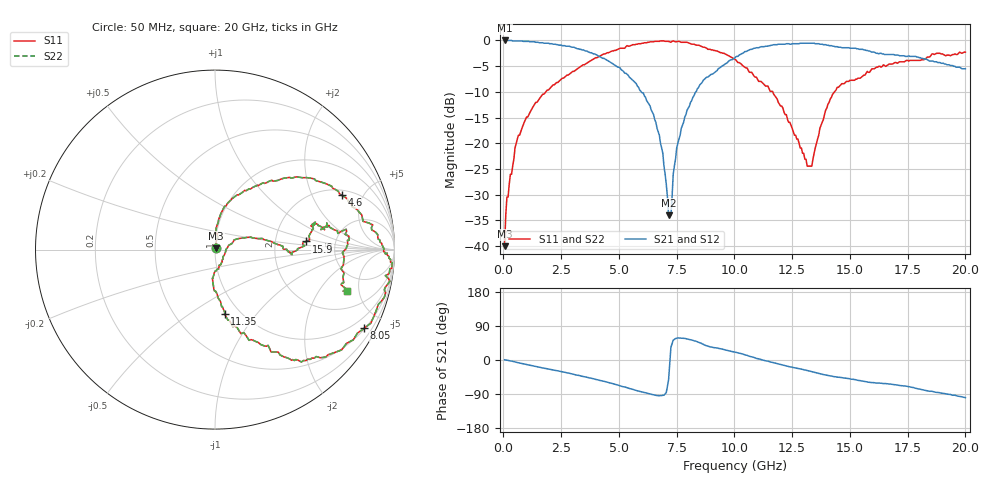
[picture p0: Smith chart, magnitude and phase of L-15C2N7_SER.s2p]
# MHZ S MA R 50
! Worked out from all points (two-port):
!   400 points, 50 MHz to 20 GHz, reference 50 ohm
!   highest |S21| = 0.00 dB at 50 MHz (marker M1); lowest = -34.0 dB at 7.15 GHz (marker M2)
!   |S21| within 3 dB of the highest: start of sweep to 4.11 GHz; 10.17 GHz to 17.36 GHz (7.19 GHz wide, 52.2 % of centre)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
!   lowest |S11| = -40.0 dB at 50 MHz (marker M3), VSWR 1.02, Z = 50.6 + j0.791 ohm
!   |S11| at or under -10 dB: start of sweep to 1.831 GHz; 11.66 GHz to 14.33 GHz (2.672 GHz wide, 20.6 % of centre)
!   |S22| runs from -40.0 to -0.1 dB; largest |S21 - S12| = 0
!   S11 on the Smith chart (normalised r, x): 50 MHz: 1.01, +0.02; 4.6 GHz: 2.31, +3.43; 8.05 GHz: 0.53, -3.97; 11.35 GHz: 0.85, -0.70; 15.9 GHz: 3.03, +0.37; 20 GHz: 3.26, -3.73
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50  0.01 51.4  1 0.6  1 0.6  0.01 51.4
150  0.03 78.5  1 -0.5  1 -0.5  0.03 78.5
650  0.12 86.8  0.99 -7.4  0.99 -7.4  0.12 86.8
1700  0.3 71.7  0.95 -20.9  0.95 -20.9  0.3 71.7
3400  0.57 44.7  0.81 -42.9  0.81 -42.9  0.57 44.7
4600  0.77 23.1  0.62 -60.4  0.62 -60.4  0.77 23.1
6050  0.94 -0.7  0.31 -85.3  0.31 -85.3  0.94 -0.7
6700  0.98 -3.9  0.13 -94.1  0.13 -94.1  0.98 -3.9
6900  0.99 -5.2  0.08 -93.2  0.08 -93.2  0.99 -5.2
7150  0.98 -7.8  0.02 -52.3  0.02 -52.3  0.98 -7.8
7250  0.96 -8.7  0.02 33.5  0.02 33.5  0.96 -8.7
7350  0.99 -10.3  0.05 52.3  0.05 52.3  0.99 -10.3
7500  0.97 -13.4  0.09 57.4  0.09 57.4  0.97 -13.4
8050  0.94 -27.8  0.23 53.8  0.23 53.8  0.94 -27.8
10050  0.65 -61.3  0.69 20.5  0.69 20.5  0.65 -61.3
11350  0.36 -81.5  0.88 -2.2  0.88 -2.2  0.36 -81.5
13350  0.06 -0.5  0.94 -30.7  0.94 -30.7  0.06 -0.5
14250  0.3 9.6  0.88 -43.2  0.88 -43.2  0.3 9.6
15900  0.51 5.1  0.78 -59.3  0.78 -59.3  0.51 5.1
16700  0.59 13.8  0.73 -63.2  0.73 -63.2  0.59 13.8
18550  0.74 8.8  0.63 -82.5  0.63 -82.5  0.74 8.8
20000  0.77 -17.6  0.53 -99.3  0.53 -99.3  0.77 -17.6
